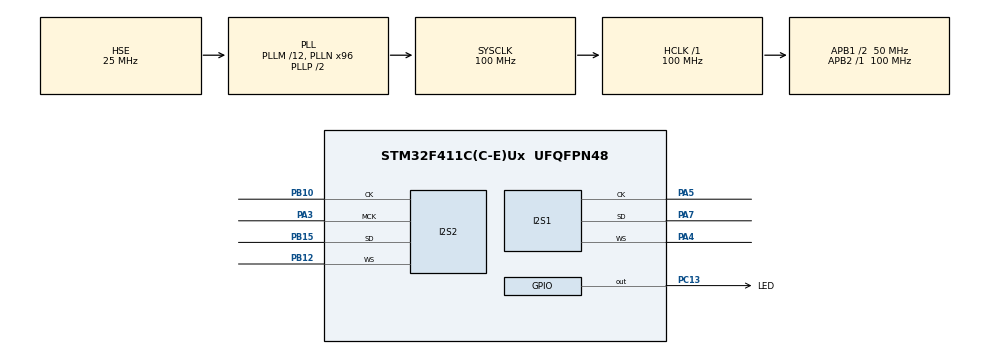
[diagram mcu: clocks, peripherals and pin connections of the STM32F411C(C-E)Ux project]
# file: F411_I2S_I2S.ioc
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Dma.Request0=SPI1_TX
Dma.Request1=SPI2_RX
Dma.SPI1_TX.0.Direction=DMA_MEMORY_TO_PERIPH
Dma.SPI1_TX.0.FIFOMode=DMA_FIFOMODE_DISABLE
Dma.SPI1_TX.0.Instance=DMA2_Stream2
Dma.SPI1_TX.0.MemDataAlignment=DMA_MDATAALIGN_HALFWORD
Dma.SPI1_TX.0.MemInc=DMA_MINC_ENABLE
Dma.SPI1_TX.0.Mode=DMA_CIRCULAR
Dma.SPI1_TX.0.PeriphDataAlignment=DMA_PDATAALIGN_HALFWORD
Dma.SPI1_TX.0.PeriphInc=DMA_PINC_DISABLE
Dma.SPI1_TX.0.Priority=DMA_PRIORITY_LOW
Dma.SPI2_RX.1.Direction=DMA_PERIPH_TO_MEMORY
Dma.SPI2_RX.1.FIFOMode=DMA_FIFOMODE_DISABLE
Dma.SPI2_RX.1.Instance=DMA1_Stream3
Dma.SPI2_RX.1.MemDataAlignment=DMA_MDATAALIGN_HALFWORD
Dma.SPI2_RX.1.MemInc=DMA_MINC_ENABLE
Dma.SPI2_RX.1.Mode=DMA_CIRCULAR
Dma.SPI2_RX.1.PeriphDataAlignment=DMA_PDATAALIGN_HALFWORD
Dma.SPI2_RX.1.PeriphInc=DMA_PINC_DISABLE
Dma.SPI2_RX.1.Priority=DMA_PRIORITY_LOW
I2S1.AudioFreq=I2S_AUDIOFREQ_48K
I2S1.DataFormat=I2S_DATAFORMAT_24B
I2S1.ErrorAudioFreq=-0.01 %
I2S1.FullDuplexMode=I2S_FULLDUPLEXMODE_DISABLE
I2S1.Instance=SPI$Index
I2S1.RealAudioFreq=47.991 KHz
I2S1.VirtualMode=I2S_MODE_MASTER
I2S2.AudioFreq=I2S_AUDIOFREQ_48K
I2S2.DataFormat=I2S_DATAFORMAT_24B
I2S2.ErrorAudioFreq=-0.01 %
I2S2.FullDuplexMode=I2S_FULLDUPLEXMODE_DISABLE
I2S2.Instance=SPI$Index
I2S2.Mode=I2S_MODE_MASTER_RX
I2S2.RealAudioFreq=47.991 KHz
I2S2.VirtualMode=I2S_MODE_MASTER
Mcu.Family=STM32F4
Mcu.Name=STM32F411C(C-E)Ux
Mcu.Package=UFQFPN48
NVIC.DMA1_Stream3_IRQn=true\:0\:0\:false\:false\:true\:false\:true\:true
NVIC.DMA2_Stream2_IRQn=true\:0\:0\:false\:false\:true\:false\:true\:true
NVIC.PriorityGroup=NVIC_PRIORITYGROUP_4
NVIC.SPI1_IRQn=true\:0\:0\:false\:false\:true\:true\:true\:true
PA3.Mode=Master_Clock_Activated
PA3.Signal=I2S2_MCK
PA4.Mode=Half_Duplex_Master
PA4.Signal=I2S1_WS
PA5.Mode=Half_Duplex_Master
PA5.Signal=I2S1_CK
PA7.Mode=Half_Duplex_Master
PA7.Signal=I2S1_SD
PB10.Mode=Half_Duplex_Master
PB10.Signal=I2S2_CK
PB12.Mode=Half_Duplex_Master
PB12.Signal=I2S2_WS
PB15.Mode=Half_Duplex_Master
PB15.Signal=I2S2_SD
PC13-ANTI_TAMP.GPIO_Label=LED
PC13-ANTI_TAMP.Signal=GPIO_Output
PH0\ -\ OSC_IN.Mode=HSE-External-Oscillator
PH0\ -\ OSC_IN.Signal=RCC_OSC_IN
PH1\ -\ OSC_OUT.Mode=HSE-External-Oscillator
PH1\ -\ OSC_OUT.Signal=RCC_OSC_OUT
ProjectManager.HeapSize=0x200
ProjectManager.StackSize=0x400
ProjectManager.TargetToolchain=STM32CubeIDE
RCC.48MHZClocksFreq_Value=50000000
RCC.AHBFreq_Value=100000000
RCC.APB1CLKDivider=RCC_HCLK_DIV2
RCC.APB1Freq_Value=50000000
RCC.APB1TimFreq_Value=100000000
RCC.APB2Freq_Value=100000000
RCC.APB2TimFreq_Value=100000000
RCC.CortexFreq_Value=100000000
RCC.HCLKFreq_Value=100000000
RCC.HSE_VALUE=25000000
RCC.HSI_VALUE=16000000
RCC.LSE_VALUE=32768
RCC.PLLI2SM=25
RCC.PLLI2SN=172
RCC.PLLM=12
RCC.PLLN=96
RCC.PLLSourceVirtual=RCC_PLLSOURCE_HSE
RCC.SYSCLKFreq_VALUE=100000000
RCC.SYSCLKSource=RCC_SYSCLKSOURCE_PLLCLK
RCC.VCOOutputFreq_Value=200000000
board=custom

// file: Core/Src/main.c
/* USER CODE BEGIN Header */
/**
 ******************************************************************************
 * @file           : main.c
 * @brief          : Main program body
 ******************************************************************************
 * @attention
 *
 * Copyright (c) 2025 STMicroelectronics.
 * All rights reserved.
 *
 * This software is licensed under terms that can be found in the LICENSE file
 * in the root directory of this software component.
 * If no LICENSE file comes with this software, it is provided AS-IS.
 *
 ******************************************************************************
 */
/* USER CODE END Header */
#include "main.h"

/* USER CODE BEGIN Includes */
#include "svc_glo.h"
#include <math.h>
/* USER CODE END Includes */

I2S_HandleTypeDef hi2s1;
I2S_HandleTypeDef hi2s2;
DMA_HandleTypeDef hdma_spi1_tx;
DMA_HandleTypeDef hdma_spi2_rx;

/* USER CODE BEGIN PV */
#define AUDIO_GAIN	8
/* USER CODE END PV */

void SystemClock_Config(void);
void PeriphCommonClock_Config(void);
static void MX_GPIO_Init(void);
static void MX_DMA_Init(void);
static void MX_I2S1_Init(void);
static void MX_I2S2_Init(void);

/* USER CODE BEGIN 0 */
#define BUFF_SIZE 256
int32_t I2S_MIC_BUFF[BUFF_SIZE];
int32_t I2S_SPK_BUFF[BUFF_SIZE];
uint16_t dt_rdy = -1;

//void HAL_I2S_RxCpltCallback(I2S_HandleTypeDef *hi2s){
//    for(int i =BUFF_SIZE/2/2; i < BUFF_SIZE/2; i++)
//    {
//    	I2S_SPK_BUFF[i] = I2S_MIC_BUFF[2*i+1]<<4;
//    }
//
//}
//
//void HAL_I2S_RxHalfCpltCallback(I2S_HandleTypeDef *hi2s)
//{
//	for(int i =0; i < BUFF_SIZE/2/2; i++)
//	    {
//	    	I2S_SPK_BUFF[i] = I2S_MIC_BUFF[2*i+1]<<4;
//	    }
//
//}
void HAL_I2S_RxCpltCallback(I2S_HandleTypeDef *hi2s) {
	if (hi2s == &hi2s2) {
//		for (int i = BUFF_SIZE / 2; i < BUFF_SIZE; i += 2) {
//			I2S_SPK_BUFF[i / 2] = (I2S_MIC_BUFF[i] << AUDIO_GAIN);
//			I2S_SPK_BUFF[i / 2 + 1] = (I2S_MIC_BUFF[i] << AUDIO_GAIN);
//
//		}
		dt_rdy = 1;

	}

}

void HAL_I2S_RxHalfCpltCallback(I2S_HandleTypeDef *hi2s) {
	if (hi2s == &hi2s2) {
//		for (int i = 0; i < BUFF_SIZE / 2; i += 2) {
//			I2S_SPK_BUFF[i / 2] = (I2S_MIC_BUFF[i] << AUDIO_GAIN);
//			I2S_SPK_BUFF[i / 2 + 1] = (I2S_MIC_BUFF[i] << AUDIO_GAIN);
//
//		}
		dt_rdy = 0;

	}

}

/* USER CODE END 0 */

int main(void) {

	/* MCU Configuration--------------------------------------------------------*/

	/* Reset of all peripherals, Initializes the Flash interface and the Systick. */
	HAL_Init();

	/* Configure the system clock */
	SystemClock_Config();

	/* Configure the peripherals common clocks */
	PeriphCommonClock_Config();

	/* Initialize all configured peripherals */
	MX_GPIO_Init();
	MX_DMA_Init();
	MX_I2S1_Init();
	MX_I2S2_Init();
	/* USER CODE BEGIN 2 */

	HAL_I2S_Receive_DMA(&hi2s2, I2S_MIC_BUFF, BUFF_SIZE);
	HAL_I2S_Transmit_DMA(&hi2s1, I2S_SPK_BUFF, BUFF_SIZE);

	/* USER CODE END 2 */

	/* Infinite loop */
	/* USER CODE BEGIN WHILE */
	while (1) {
		while (dt_rdy != 0) {
		}
		for (int i = 0; i < BUFF_SIZE / 2; i++) {
			int32_t raw = I2S_MIC_BUFF[i]; // Left channel
			int32_t sample = (raw << 8) >> 8;  // Sign-extend 24-bit

			I2S_SPK_BUFF[i] = sample << 4;  // Left channel to DAC
		}
		while (dt_rdy != 1) {
		}
		for (int i = BUFF_SIZE / 2; i < BUFF_SIZE; i++) {
			int32_t raw = I2S_MIC_BUFF[i]; // Left channel
			int32_t sample = (raw << 8) >> 8;  // Sign-extend 24-bit

			I2S_SPK_BUFF[i] = sample << 4;
		}
		dt_rdy = -1;
		/* USER CODE END WHILE */

	}
}

void SystemClock_Config(void) {
	RCC_OscInitTypeDef RCC_OscInitStruct = { 0 };
	RCC_ClkInitTypeDef RCC_ClkInitStruct = { 0 };

	/** Configure the main internal regulator output voltage
	 */
	__HAL_RCC_PWR_CLK_ENABLE();
	__HAL_PWR_VOLTAGESCALING_CONFIG(PWR_REGULATOR_VOLTAGE_SCALE1);

	/** Initializes the RCC Oscillators according to the specified parameters
	 * in the RCC_OscInitTypeDef structure.
	 */
	RCC_OscInitStruct.OscillatorType = RCC_OSCILLATORTYPE_HSE;
	RCC_OscInitStruct.HSEState = RCC_HSE_ON;
	RCC_OscInitStruct.PLL.PLLState = RCC_PLL_ON;
	RCC_OscInitStruct.PLL.PLLSource = RCC_PLLSOURCE_HSE;
	RCC_OscInitStruct.PLL.PLLM = 12;
	RCC_OscInitStruct.PLL.PLLN = 96;
	RCC_OscInitStruct.PLL.PLLP = RCC_PLLP_DIV2;
	RCC_OscInitStruct.PLL.PLLQ = 4;
	if (HAL_RCC_OscConfig(&RCC_OscInitStruct) != HAL_OK) {
		Error_Handler();
	}

	/** Initializes the CPU, AHB and APB buses clocks
	 */
	RCC_ClkInitStruct.ClockType = RCC_CLOCKTYPE_HCLK | RCC_CLOCKTYPE_SYSCLK
			| RCC_CLOCKTYPE_PCLK1 | RCC_CLOCKTYPE_PCLK2;
	RCC_ClkInitStruct.SYSCLKSource = RCC_SYSCLKSOURCE_PLLCLK;
	RCC_ClkInitStruct.AHBCLKDivider = RCC_SYSCLK_DIV1;
	RCC_ClkInitStruct.APB1CLKDivider = RCC_HCLK_DIV2;
	RCC_ClkInitStruct.APB2CLKDivider = RCC_HCLK_DIV1;

	if (HAL_RCC_ClockConfig(&RCC_ClkInitStruct, FLASH_LATENCY_3) != HAL_OK) {
		Error_Handler();
	}
}

void PeriphCommonClock_Config(void) {
	RCC_PeriphCLKInitTypeDef PeriphClkInitStruct = { 0 };

	/** Initializes the peripherals clock
	 */
	PeriphClkInitStruct.PeriphClockSelection = RCC_PERIPHCLK_I2S;
	PeriphClkInitStruct.PLLI2S.PLLI2SN = 172;
	PeriphClkInitStruct.PLLI2S.PLLI2SM = 25;
	PeriphClkInitStruct.PLLI2S.PLLI2SR = 2;
	if (HAL_RCCEx_PeriphCLKConfig(&PeriphClkInitStruct) != HAL_OK) {
		Error_Handler();
	}
}

static void MX_I2S1_Init(void) {

	hi2s1.Instance = SPI1;
	hi2s1.Init.Mode = I2S_MODE_MASTER_TX;
	hi2s1.Init.Standard = I2S_STANDARD_PHILIPS;
	hi2s1.Init.DataFormat = I2S_DATAFORMAT_24B;
	hi2s1.Init.MCLKOutput = I2S_MCLKOUTPUT_DISABLE;
	hi2s1.Init.AudioFreq = I2S_AUDIOFREQ_48K;
	hi2s1.Init.CPOL = I2S_CPOL_LOW;
	hi2s1.Init.ClockSource = I2S_CLOCK_PLL;
	hi2s1.Init.FullDuplexMode = I2S_FULLDUPLEXMODE_DISABLE;
	if (HAL_I2S_Init(&hi2s1) != HAL_OK) {
		Error_Handler();
	}

}

static void MX_I2S2_Init(void) {

	hi2s2.Instance = SPI2;
	hi2s2.Init.Mode = I2S_MODE_MASTER_RX;
	hi2s2.Init.Standard = I2S_STANDARD_PHILIPS;
	hi2s2.Init.DataFormat = I2S_DATAFORMAT_24B;
	hi2s2.Init.MCLKOutput = I2S_MCLKOUTPUT_ENABLE;
	hi2s2.Init.AudioFreq = I2S_AUDIOFREQ_48K;
	hi2s2.Init.CPOL = I2S_CPOL_LOW;
	hi2s2.Init.ClockSource = I2S_CLOCK_PLL;
	hi2s2.Init.FullDuplexMode = I2S_FULLDUPLEXMODE_DISABLE;
	if (HAL_I2S_Init(&hi2s2) != HAL_OK) {
		Error_Handler();
	}

}

static void MX_DMA_Init(void) {

	/* DMA controller clock enable */
	__HAL_RCC_DMA2_CLK_ENABLE();
	__HAL_RCC_DMA1_CLK_ENABLE();

	/* DMA interrupt init */
	/* DMA1_Stream3_IRQn interrupt configuration */
	HAL_NVIC_SetPriority(DMA1_Stream3_IRQn, 0, 0);
	HAL_NVIC_EnableIRQ(DMA1_Stream3_IRQn);
	/* DMA2_Stream2_IRQn interrupt configuration */
	HAL_NVIC_SetPriority(DMA2_Stream2_IRQn, 0, 0);
	HAL_NVIC_EnableIRQ(DMA2_Stream2_IRQn);

}

static void MX_GPIO_Init(void) {
	GPIO_InitTypeDef GPIO_InitStruct = { 0 };

	/* GPIO Ports Clock Enable */
	__HAL_RCC_GPIOC_CLK_ENABLE();
	__HAL_RCC_GPIOH_CLK_ENABLE();
	__HAL_RCC_GPIOA_CLK_ENABLE();
	__HAL_RCC_GPIOB_CLK_ENABLE();

	/*Configure GPIO pin Output Level */
	HAL_GPIO_WritePin(LED_GPIO_Port, LED_Pin, GPIO_PIN_RESET);

	/*Configure GPIO pin : LED_Pin */
	GPIO_InitStruct.Pin = LED_Pin;
	GPIO_InitStruct.Mode = GPIO_MODE_OUTPUT_PP;
	GPIO_InitStruct.Pull = GPIO_NOPULL;
	GPIO_InitStruct.Speed = GPIO_SPEED_FREQ_LOW;
	HAL_GPIO_Init(LED_GPIO_Port, &GPIO_InitStruct);

}

void Error_Handler(void) {
	__disable_irq();
	while (1) {
	}
}
